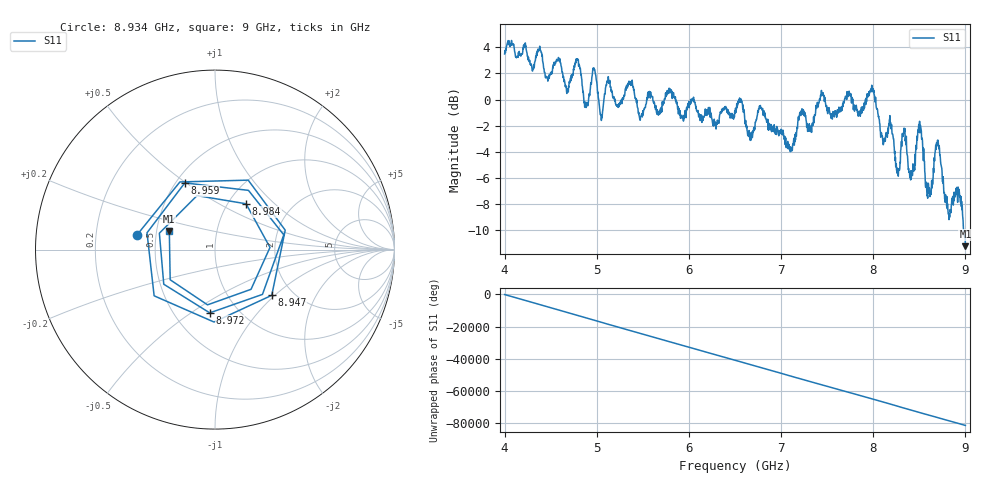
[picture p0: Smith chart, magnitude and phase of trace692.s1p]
! Created with skrf 1.8.0 (http://scikit-rf.org).
# Hz S RI R 50.0
!freq ReS11 ImS11
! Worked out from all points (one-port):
!   1601 points, 4 GHz to 9 GHz, reference 50 ohm
!   lowest |S11| = -11.2 dB at 9 GHz (marker M1), VSWR 1.76, Z = 29.2 + j6.58 ohm
!   |S11| at or under -10 dB: 8.98128 GHz to end of sweep
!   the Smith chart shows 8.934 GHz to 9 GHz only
!   S11 on the Smith chart (normalised r, x): 8.934 GHz: 0.39, +0.08; 8.947 GHz: 1.57, -0.96; 8.959 GHz: 0.55, +0.49; 8.972 GHz: 0.74, -0.60; 8.984 GHz: 1.21, +0.68; 9 GHz: 0.58, +0.13
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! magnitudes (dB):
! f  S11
! 4 GHz  3.5
! 4.625 GHz  2.1
! 4.884 GHz  -0.6
! 5.25 GHz  -0.4
! 5.366 GHz  1.3
! 5.478 GHz  -1.3
! 5.875 GHz  -0.5
! 6.5 GHz  -1.0
! 7.125 GHz  -3.5
! 7.219 GHz  -0.9
! 7.75 GHz  0.4
! 7.988 GHz  0.8
! 8.106 GHz  -3.4
! 8.194 GHz  -2.2
! 8.262 GHz  -5.2
! 8.328 GHz  -2.6
! 8.375 GHz  -4.7
! 8.425 GHz  -5.8
! 8.506 GHz  -2.5
! 8.603 GHz  -7.2
! 8.694 GHz  -3.5
! 8.819 GHz  -8.7
! 8.934 GHz  -7.1
! 8.947 GHz  -7.8
! 8.959 GHz  -7.8
! 8.972 GHz  -9.0
! 8.984 GHz  -10.2
! 9 GHz  -11.2
